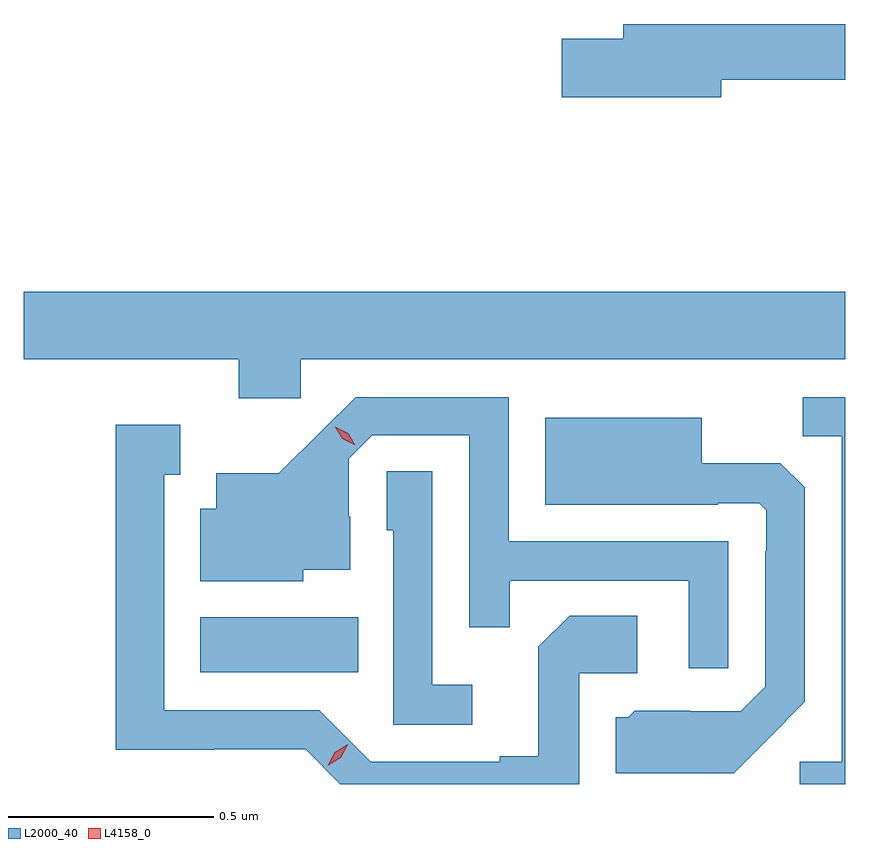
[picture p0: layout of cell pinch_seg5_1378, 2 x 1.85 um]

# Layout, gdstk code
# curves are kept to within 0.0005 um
import gdstk
lib = gdstk.Library(unit=1e-6, precision=1e-09)
def R(c, l, rs):  # rectangles x0, y0, x1, y1
    for r in rs: c.add(gdstk.rectangle(r[:2], r[2:], *l))
def P(c, l, *ps):  # polygons
    for p in ps: c.add(gdstk.Polygon(p, *l))
L2000_40 = (2000, 40)
L4158_0 = (4158, 0)

pinch_seg5_1378 = lib.new_cell('pinch_seg5_1378')
R(pinch_seg5_1378, L2000_40, [(298.544,878.642,298.928,878.776)])
P(pinch_seg5_1378, L2000_40, [(299.812,880.084),(300.114,880.084),(300.114,880.22),(299.573,880.22),(299.573,880.184),(299.424,880.184),(299.424,880.042),(299.812,880.042)],
  [(298.788,879.404),(300.114,879.404),(300.114,879.568),(298.114,879.568),(298.114,879.404),(298.637,879.404),(298.637,879.309),(298.788,879.309)],
  [(300.114,879.312),(300.01,879.312),(300.01,879.217),(300.105,879.217),(300.105,878.424),(300.003,878.424),(300.003,878.37),(300.114,878.37)],
  [(299.829,878.961),(299.295,878.961),(299.295,879.312),(298.922,879.312),(298.735,879.127),(298.583,879.127),(298.583,879.04),(298.544,879.04),(298.544,878.864),(298.794,878.864),(298.794,878.891),(298.909,878.891),(298.909,879.02),(298.905,879.02),(298.905,879.162),(298.962,879.219),(299.199,879.219),(299.199,878.752),(299.297,878.752),(299.297,878.865),(299.733,878.865),(299.733,878.652),(299.829,878.652)],
  [(299.923,878.477),(300.015,878.57),(300.015,879.092),(299.956,879.151),(299.764,879.151),(299.764,879.262),(299.384,879.262),(299.384,879.05),(299.804,879.05),(299.804,879.054),(299.904,879.054),(299.922,879.036),(299.922,878.936),(299.919,878.936),(299.919,878.607),(299.859,878.547),(299.736,878.547),(299.736,878.548),(299.602,878.548),(299.586,878.532),(299.555,878.532),(299.555,878.396),(299.843,878.396)],
  [(299.466,878.64),(299.608,878.64),(299.608,878.78),(299.443,878.78),(299.367,878.704),(299.367,878.437),(299.273,878.437),(299.273,878.424),(298.959,878.424),(298.833,878.55),(298.456,878.55),(298.456,879.123),(298.495,879.123),(298.495,879.244),(298.338,879.244),(298.338,878.453),(298.578,878.453),(298.578,878.454),(298.8,878.454),(298.884,878.37),(299.466,878.37)],
  [(299.206,878.611),(299.109,878.611),(299.109,879.131),(298.998,879.131),(298.998,878.988),(299.013,878.988),(299.013,878.514),(299.206,878.514)])
P(pinch_seg5_1378, L4158_0, [(298.921,879.195),(298.89,879.21),(298.873,879.239),(298.873,879.24),(298.873,879.24),(298.904,879.224),(298.921,879.195),(298.921,879.195)],
  [(298.854,878.414),(298.854,878.415),(298.871,878.447),(298.903,878.467),(298.903,878.467),(298.903,878.466),(298.886,878.434),(298.854,878.414)])

lib.write_gds('pinch_seg5_1378.gds')
